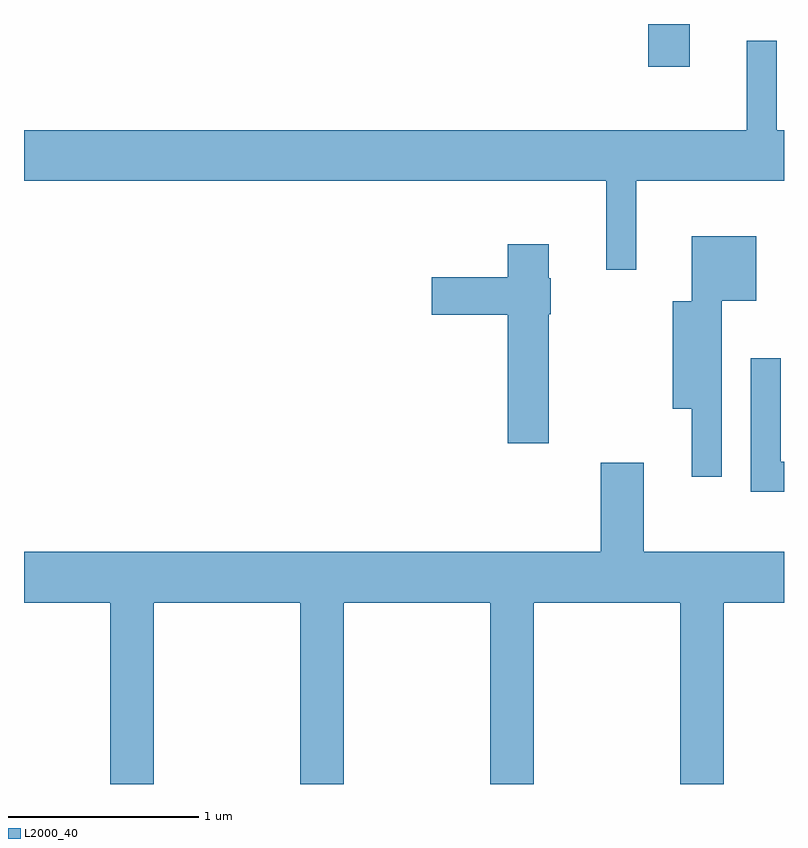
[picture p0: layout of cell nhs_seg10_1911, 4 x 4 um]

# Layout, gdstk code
import gdstk
lib = gdstk.Library(unit=1e-6, precision=1e-09)
def R(c, l, rs):  # rectangles x0, y0, x1, y1
    for r in rs: c.add(gdstk.rectangle(r[:2], r[2:], *l))
def P(c, l, *ps):  # polygons
    for p in ps: c.add(gdstk.Polygon(p, *l))
L2000_40 = (2000, 40)

nhs_seg10_1911 = lib.new_cell('nhs_seg10_1911')
R(nhs_seg10_1911, L2000_40, [(244.896,2112.296,245.114,2112.522)])
P(nhs_seg10_1911, L2000_40, [(244.834,2111.696),(245.611,2111.696),(245.611,2111.964),(245.574,2111.964),(245.574,2112.433),(245.416,2112.433),(245.416,2111.964),(241.611,2111.964),(241.611,2111.696),(244.676,2111.696),(244.676,2111.228),(244.834,2111.228)],
  [(245.284,2111.066),(245.464,2111.066),(245.464,2111.404),(245.126,2111.404),(245.126,2111.064),(245.026,2111.064),(245.026,2110.496),(245.126,2110.496),(245.126,2110.138),(245.284,2110.138)],
  [(244.374,2110.995),(244.384,2110.995),(244.384,2111.185),(244.374,2111.185),(244.374,2111.364),(244.156,2111.364),(244.156,2111.189),(243.756,2111.189),(243.756,2110.991),(244.156,2110.991),(244.156,2110.316),(244.374,2110.316)],
  [(245.611,2110.219),(245.594,2110.219),(245.594,2110.763),(245.436,2110.763),(245.436,2110.061),(245.611,2110.061)],
  [(242.294,2109.476),(243.066,2109.476),(243.066,2108.522),(243.294,2108.522),(243.294,2109.476),(244.066,2109.476),(244.066,2108.522),(244.294,2108.522),(244.294,2109.476),(245.066,2109.476),(245.066,2108.522),(245.294,2108.522),(245.294,2109.476),(245.611,2109.476),(245.611,2109.744),(244.874,2109.744),(244.874,2110.214),(244.646,2110.214),(244.646,2109.744),(241.611,2109.744),(241.611,2109.476),(242.066,2109.476),(242.066,2108.522),(242.294,2108.522)])

lib.write_gds('nhs_seg10_1911.gds')
